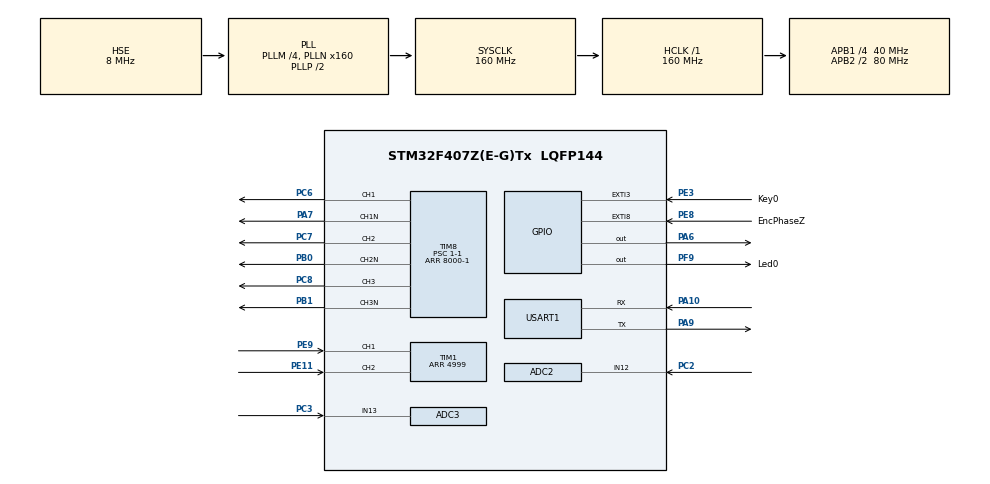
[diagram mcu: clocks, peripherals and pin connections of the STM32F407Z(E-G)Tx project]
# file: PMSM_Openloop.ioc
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ADC2.Channel-6\#ChannelRegularConversion=ADC_CHANNEL_12
ADC2.ClockPrescaler=ADC_CLOCK_SYNC_PCLK_DIV4
ADC2.DMAContinuousRequests=ENABLE
ADC2.ExternalTrigConv=ADC_EXTERNALTRIGCONV_T8_TRGO
ADC2.ExternalTrigConvEdge=ADC_EXTERNALTRIGCONVEDGE_RISING
ADC2.NbrOfConversionFlag=1
ADC2.Rank-6\#ChannelRegularConversion=1
ADC2.SamplingTime-6\#ChannelRegularConversion=ADC_SAMPLETIME_15CYCLES
ADC3.Channel-0\#ChannelRegularConversion=ADC_CHANNEL_13
ADC3.ClockPrescaler=ADC_CLOCK_SYNC_PCLK_DIV4
ADC3.DMAContinuousRequests=ENABLE
ADC3.DiscontinuousConvMode=DISABLE
ADC3.EnableAnalogWatchDog=false
ADC3.ExternalTrigConv=ADC_EXTERNALTRIGCONV_T8_TRGO
ADC3.ExternalTrigConvEdge=ADC_EXTERNALTRIGCONVEDGE_RISING
ADC3.NbrOfConversion=1
ADC3.NbrOfConversionFlag=1
ADC3.Rank-0\#ChannelRegularConversion=1
ADC3.SamplingTime-0\#ChannelRegularConversion=ADC_SAMPLETIME_15CYCLES
ADC3.ScanConvMode=DISABLE
Dma.ADC2.1.Direction=DMA_PERIPH_TO_MEMORY
Dma.ADC2.1.FIFOMode=DMA_FIFOMODE_DISABLE
Dma.ADC2.1.Instance=DMA2_Stream2
Dma.ADC2.1.MemDataAlignment=DMA_MDATAALIGN_HALFWORD
Dma.ADC2.1.MemInc=DMA_MINC_ENABLE
Dma.ADC2.1.Mode=DMA_CIRCULAR
Dma.ADC2.1.PeriphDataAlignment=DMA_PDATAALIGN_HALFWORD
Dma.ADC2.1.PeriphInc=DMA_PINC_DISABLE
Dma.ADC2.1.Priority=DMA_PRIORITY_LOW
Dma.ADC3.0.Direction=DMA_PERIPH_TO_MEMORY
Dma.ADC3.0.FIFOMode=DMA_FIFOMODE_DISABLE
Dma.ADC3.0.Instance=DMA2_Stream0
Dma.ADC3.0.MemDataAlignment=DMA_MDATAALIGN_HALFWORD
Dma.ADC3.0.MemInc=DMA_MINC_ENABLE
Dma.ADC3.0.Mode=DMA_CIRCULAR
Dma.ADC3.0.PeriphDataAlignment=DMA_PDATAALIGN_HALFWORD
Dma.ADC3.0.PeriphInc=DMA_PINC_DISABLE
Dma.ADC3.0.Priority=DMA_PRIORITY_LOW
Dma.Request0=ADC3
Dma.Request1=ADC2
Mcu.Family=STM32F4
Mcu.Name=STM32F407Z(E-G)Tx
Mcu.Package=LQFP144
NVIC.DMA2_Stream0_IRQn=true\:0\:0\:false\:false\:true\:false\:true\:true
NVIC.DMA2_Stream2_IRQn=true\:0\:0\:false\:false\:true\:false\:true\:true
NVIC.EXTI3_IRQn=true\:1\:0\:true\:false\:true\:true\:true\:true
NVIC.EXTI9_5_IRQn=true\:0\:0\:false\:false\:true\:true\:true\:true
NVIC.PriorityGroup=NVIC_PRIORITYGROUP_4
PA10.Mode=Asynchronous
PA10.Signal=USART1_RX
PA13.Mode=Serial_Wire
PA13.Signal=SYS_JTMS-SWDIO
PA14.Mode=Serial_Wire
PA14.Signal=SYS_JTCK-SWCLK
PA6.Signal=GPIO_Output
PA7.GPIO_PuPd=GPIO_PULLUP
PA7.Mode=PWM Generation1 CH1 CH1N
PA7.Signal=TIM8_CH1N
PA9.Mode=Asynchronous
PA9.Signal=USART1_TX
PB0.GPIO_PuPd=GPIO_PULLUP
PB0.Mode=PWM Generation2 CH2 CH2N
PB0.Signal=TIM8_CH2N
PB1.GPIO_PuPd=GPIO_PULLUP
PB1.Mode=PWM Generation3 CH3 CH3N
PB1.Signal=TIM8_CH3N
PC14-OSC32_IN.Mode=LSE-External-Oscillator
PC14-OSC32_IN.Signal=RCC_OSC32_IN
PC15-OSC32_OUT.Mode=LSE-External-Oscillator
PC15-OSC32_OUT.Signal=RCC_OSC32_OUT
PC2.Signal=ADCx_IN12
PC3.Signal=ADCx_IN13
PC6.GPIO_PuPd=GPIO_PULLUP
PC6.Signal=S_TIM8_CH1
PC7.GPIO_PuPd=GPIO_PULLUP
PC7.Signal=S_TIM8_CH2
PC8.GPIO_PuPd=GPIO_PULLUP
PC8.Signal=S_TIM8_CH3
PE11.Signal=S_TIM1_CH2
PE3.GPIO_Label=Key0
PE3.GPIO_ModeDefaultEXTI=GPIO_MODE_IT_RISING
PE3.GPIO_PuPd=GPIO_PULLUP
PE3.Signal=GPXTI3
PE8.GPIO_Label=EncPhaseZ
PE8.GPIO_ModeDefaultEXTI=GPIO_MODE_IT_RISING
PE8.GPIO_PuPd=GPIO_NOPULL
PE8.Signal=GPXTI8
PE9.Signal=S_TIM1_CH1
PF9.GPIO_Label=Led0
PF9.PinState=GPIO_PIN_SET
PF9.Signal=GPIO_Output
PH0-OSC_IN.Mode=HSE-External-Oscillator
PH0-OSC_IN.Signal=RCC_OSC_IN
PH1-OSC_OUT.Mode=HSE-External-Oscillator
PH1-OSC_OUT.Signal=RCC_OSC_OUT
ProjectManager.HeapSize=0x200
ProjectManager.StackSize=0x400
ProjectManager.TargetToolchain=STM32CubeIDE
RCC.48MHZClocksFreq_Value=80000000
RCC.AHBFreq_Value=160000000
RCC.APB1CLKDivider=RCC_HCLK_DIV4
RCC.APB1Freq_Value=40000000
RCC.APB1TimFreq_Value=80000000
RCC.APB2CLKDivider=RCC_HCLK_DIV2
RCC.APB2Freq_Value=80000000
RCC.APB2TimFreq_Value=160000000
RCC.CortexFreq_Value=160000000
RCC.EnbaleCSS=true
RCC.HCLKFreq_Value=160000000
RCC.HSE_VALUE=8000000
RCC.HSI_VALUE=16000000
RCC.PLLM=4
RCC.PLLN=160
RCC.PLLSourceVirtual=RCC_PLLSOURCE_HSE
RCC.SYSCLKFreq_VALUE=160000000
RCC.SYSCLKSource=RCC_SYSCLKSOURCE_PLLCLK
RCC.VCOOutputFreq_Value=320000000
SH.ADCx_IN12.0=ADC2_IN12,IN12
SH.ADCx_IN13.0=ADC3_IN13,IN13
SH.S_TIM1_CH1.0=TIM1_CH1,Encoder_Interface
SH.S_TIM1_CH2.0=TIM1_CH2,Encoder_Interface
SH.S_TIM8_CH1.0=TIM8_CH1,PWM Generation1 CH1 CH1N
SH.S_TIM8_CH2.0=TIM8_CH2,PWM Generation2 CH2 CH2N
SH.S_TIM8_CH3.0=TIM8_CH3,PWM Generation3 CH3 CH3N
STMicroelectronics.X-CUBE-ALGOBUILD.1.3.0.LibraryCcDSPOoLibraryJjDSPOoLibrary=true
TIM1.EncoderMode=TIM_ENCODERMODE_TI1
TIM1.IC1Prescaler=TIM_ICPSC_DIV1
TIM1.IC2Prescaler=TIM_ICPSC_DIV1
TIM1.Period=4999
TIM8.AutomaticOutput=TIM_AUTOMATICOUTPUT_DISABLE
TIM8.BreakPolarity=TIM_BREAKPOLARITY_HIGH
TIM8.BreakState=TIM_BREAK_DISABLE
TIM8.Channel-PWM\ Generation1\ CH1\ CH1N=TIM_CHANNEL_1
TIM8.Channel-PWM\ Generation2\ CH2\ CH2N=TIM_CHANNEL_2
TIM8.Channel-PWM\ Generation3\ CH3\ CH3N=TIM_CHANNEL_3
TIM8.Channel-PWM\ Generation4\ No\ Output=TIM_CHANNEL_4
TIM8.ClockDivision=TIM_CLOCKDIVISION_DIV2
TIM8.CounterMode=TIM_COUNTERMODE_CENTERALIGNED1
TIM8.DeadTime=40
TIM8.OCFastMode_PWM-PWM\ Generation1\ CH1\ CH1N=TIM_OCFAST_DISABLE
TIM8.OCIdleState_1=TIM_OCIDLESTATE_SET
TIM8.OCIdleState_2=TIM_OCIDLESTATE_SET
TIM8.OCIdleState_3=TIM_OCIDLESTATE_SET
TIM8.OCMode_PWM-PWM\ Generation1\ CH1\ CH1N=TIM_OCMODE_PWM1
TIM8.OCMode_PWM-PWM\ Generation2\ CH2\ CH2N=TIM_OCMODE_PWM1
TIM8.OCMode_PWM-PWM\ Generation3\ CH3\ CH3N=TIM_OCMODE_PWM1
TIM8.OCMode_PWM-PWM\ Generation4\ No\ Output=TIM_OCMODE_PWM2
TIM8.OCNIdleState_1=TIM_OCNIDLESTATE_SET
TIM8.OCNIdleState_2=TIM_OCNIDLESTATE_SET
TIM8.OCNIdleState_3=TIM_OCNIDLESTATE_SET
TIM8.OCNPolarity_1=TIM_OCNPOLARITY_LOW
TIM8.OCNPolarity_2=TIM_OCNPOLARITY_LOW
TIM8.OCNPolarity_3=TIM_OCNPOLARITY_LOW
TIM8.OCPolarity_1=TIM_OCPOLARITY_LOW
TIM8.OCPolarity_2=TIM_OCPOLARITY_LOW
TIM8.OCPolarity_3=TIM_OCPOLARITY_LOW
TIM8.OffStateIDLEMode=TIM_OSSI_DISABLE
TIM8.Period=8000-1
TIM8.Prescaler=1-1
TIM8.Pulse-PWM\ Generation4\ No\ Output=8000-2
TIM8.RepetitionCounter=1
TIM8.TIM_MasterOutputTrigger=TIM_TRGO_OC4REF
TIM8.TIM_MasterSlaveMode=TIM_MASTERSLAVEMODE_DISABLE
USART1.VirtualMode=VM_ASYNC
VP_STMicroelectronics.X-CUBE-ALGOBUILD_VS_DSPOoLibraryJjLibrary_1.3.0_1.3.0.Mode=DSPOoLibraryJjLibrary
VP_TIM8_VS_ClockSourceINT.Mode=Internal
VP_TIM8_VS_no_output4.Mode=PWM Generation4 No Output
board=custom

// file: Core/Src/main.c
/* USER CODE BEGIN Header */
/**
  ******************************************************************************
  * @file           : main.c
  * @brief          : Main program body
  ******************************************************************************
  * @attention
  *
  * Copyright (c) 2023 STMicroelectronics.
  * All rights reserved.
  *
  * This software is licensed under terms that can be found in the LICENSE file
  * in the root directory of this software component.
  * If no LICENSE file comes with this software, it is provided AS-IS.
  *
  ******************************************************************************
  */
/* USER CODE END Header */
#include "main.h"
#include "adc.h"
#include "dma.h"
#include "tim.h"
#include "usart.h"
#include "gpio.h"

/* USER CODE BEGIN Includes */
#include "svpwm.h"
#include "arm_math.h"
#include "retarget.h"
/* USER CODE END Includes */

/* USER CODE BEGIN PV */
uint16_t t;
uint16_t  encValue = 0,encOld = 0;
uint8_t speedLoopFlag;
int16_t encDiff;
uint8_t pwmSwitch = 0;
float sineWave_Data[200];
uint16_t Tcm[3];
uint8_t sector;
float32_t Ua, Ub, Ia, Ib;
float32_t Ualpha, Ubeta, Ialpha, Ibeta;
float32_t Ud, Uq, Id, Iq;
float32_t theta_m, theta_e;
float32_t omega_m, omega_e;
uint16_t adcValue1 = 0;
uint16_t adcValue2 = 0;

/* USER CODE END PV */

void SystemClock_Config(void);

int main(void)
{

  /* MCU Configuration--------------------------------------------------------*/

  /* Reset of all peripherals, Initializes the Flash interface and the Systick. */
  HAL_Init();

  /* Configure the system clock */
  SystemClock_Config();

  /* Initialize all configured peripherals */
  MX_GPIO_Init();
  MX_USART1_UART_Init();
  MX_DMA_Init();
  MX_TIM1_Init();
  MX_TIM8_Init();
  MX_ADC2_Init();
  MX_ADC3_Init();
  /* USER CODE BEGIN 2 */
    mystdioInit(&huart1);
    for (uint16_t n = 0; n < 200; n++)
        sineWave_Data[n] = arm_sin_f32(2.0f * n * PI / 200);
    TIM8->CCR4 = 8000 - 3;
    TIM8->CCR1 = 8000-1000;
    TIM8->ARR = 8000 - 1;

    HAL_TIM_Base_Start(&htim8);
    HAL_TIM_Encoder_Start(&htim1, TIM_CHANNEL_ALL);
    HAL_ADC_Start_DMA(&hadc2,(uint32_t *)&adcValue1,1);
    HAL_ADC_Start_DMA(&hadc3,(uint32_t *)&adcValue2,1);
  /* USER CODE END 2 */

  /* Infinite loop */
  /* USER CODE BEGIN WHILE */
    while (1)
    {
        if(pwmSwitch)
        {
            HAL_GPIO_WritePin(Led0_GPIO_Port, Led0_Pin, GPIO_PIN_RESET);
            HAL_TIM_PWM_Start(&htim8,TIM_CHANNEL_4);
            HAL_TIM_PWM_Start(&htim8,TIM_CHANNEL_1);
            HAL_TIM_PWM_Start(&htim8,TIM_CHANNEL_2);
            HAL_TIM_PWM_Start(&htim8,TIM_CHANNEL_3);
            HAL_TIMEx_PWMN_Start(&htim8,TIM_CHANNEL_1);
            HAL_TIMEx_PWMN_Start(&htim8,TIM_CHANNEL_2);
            HAL_TIMEx_PWMN_Start(&htim8,TIM_CHANNEL_3);
        }
        else
        {
            HAL_GPIO_WritePin(Led0_GPIO_Port, Led0_Pin, GPIO_PIN_SET);
            HAL_TIM_PWM_Stop(&htim8,TIM_CHANNEL_4);
            HAL_TIM_PWM_Stop(&htim8,TIM_CHANNEL_1);
            HAL_TIM_PWM_Stop(&htim8,TIM_CHANNEL_2);
            HAL_TIM_PWM_Stop(&htim8,TIM_CHANNEL_3);
            HAL_TIMEx_PWMN_Stop(&htim8,TIM_CHANNEL_1);
            HAL_TIMEx_PWMN_Stop(&htim8,TIM_CHANNEL_2);
            HAL_TIMEx_PWMN_Stop(&htim8,TIM_CHANNEL_3);

        }
        printf("%f,%f\r\n", (float32_t)adcValue1 * 3.31f / 4095, (float32_t)adcValue2 * 3.31f / 4095);
//        printf("%d,%d,%f,%f\r\n", encValue, encDiff, omega_m, omega_e);
//        printf("%f,%f,%f,%f\r\n", theta_m, theta_e, omega_m, omega_e);
//        for (uint8_t n = 0; n < 200; n++)
//        {
//            U_alpha = 50 * sineWave_Data[(n + 200 / 4) % 200];
//            U_beta = 50 * sineWave_Data[n];
//            sector = svpwm(U_alpha, U_beta, 16000, 310, Tcm);
//            printf("%.10f,%.10f,%d,%d,%d,%d\r\n",Ua, Ub,Tcm[0], Tcm[1], Tcm[2], sector);
//        }

    /* USER CODE END WHILE */

    }
}

void SystemClock_Config(void)
{
  RCC_OscInitTypeDef RCC_OscInitStruct = {0};
  RCC_ClkInitTypeDef RCC_ClkInitStruct = {0};

  /** Configure the main internal regulator output voltage
  */
  __HAL_RCC_PWR_CLK_ENABLE();
  __HAL_PWR_VOLTAGESCALING_CONFIG(PWR_REGULATOR_VOLTAGE_SCALE1);

  /** Initializes the RCC Oscillators according to the specified parameters
  * in the RCC_OscInitTypeDef structure.
  */
  RCC_OscInitStruct.OscillatorType = RCC_OSCILLATORTYPE_HSE;
  RCC_OscInitStruct.HSEState = RCC_HSE_ON;
  RCC_OscInitStruct.PLL.PLLState = RCC_PLL_ON;
  RCC_OscInitStruct.PLL.PLLSource = RCC_PLLSOURCE_HSE;
  RCC_OscInitStruct.PLL.PLLM = 4;
  RCC_OscInitStruct.PLL.PLLN = 160;
  RCC_OscInitStruct.PLL.PLLP = RCC_PLLP_DIV2;
  RCC_OscInitStruct.PLL.PLLQ = 4;
  if (HAL_RCC_OscConfig(&RCC_OscInitStruct) != HAL_OK)
  {
    Error_Handler();
  }

  /** Initializes the CPU, AHB and APB buses clocks
  */
  RCC_ClkInitStruct.ClockType = RCC_CLOCKTYPE_HCLK|RCC_CLOCKTYPE_SYSCLK
                              |RCC_CLOCKTYPE_PCLK1|RCC_CLOCKTYPE_PCLK2;
  RCC_ClkInitStruct.SYSCLKSource = RCC_SYSCLKSOURCE_PLLCLK;
  RCC_ClkInitStruct.AHBCLKDivider = RCC_SYSCLK_DIV1;
  RCC_ClkInitStruct.APB1CLKDivider = RCC_HCLK_DIV4;
  RCC_ClkInitStruct.APB2CLKDivider = RCC_HCLK_DIV2;

  if (HAL_RCC_ClockConfig(&RCC_ClkInitStruct, FLASH_LATENCY_5) != HAL_OK)
  {
    Error_Handler();
  }

  /** Enables the Clock Security System
  */
  HAL_RCC_EnableCSS();
}

/* USER CODE BEGIN 4 */
//void HAL_TIM_PWM_PulseFinishedCallback(TIM_HandleTypeDef *htim)
//{
//    if(htim == &htim8 && htim->Channel == HAL_TIM_ACTIVE_CHANNEL_4)
//    {
//        t++;
//        if(t > 199)
//            t = 0;
//        Ua = 10 * sineWave_Data[t];
//        Ub = 10 * sineWave_Data[(t + 200 * 2 / 3) % 200];
//        arm_clarke_f32(Ua, Ub, &Ualpha, &Ubeta);
//        arm_park_f32(Ualpha, Ubeta, &Ud, &Uq, arm_sin_f32(2 * PI * (float32_t) t / 200.0f),
//                     arm_cos_f32(2 * PI * (float32_t) t / 200.0f));
//        sector = svpwm(Ualpha, Ubeta, 16000, 320, Tcm);
//        TIM8->CCR1 = Tcm[0];
//        TIM8->CCR2 = Tcm[1];
//        TIM8->CCR3 = Tcm[2];
//        speedLoopFlag++;
//        if(speedLoopFlag > 39)
//        {
//            int16_t encDiffTmp[3];
//            speedLoopFlag = 0;
//            encValue = __HAL_TIM_GET_COUNTER(&htim1);
//            encDiffTmp[0] = (int16_t)(encValue - encOld);
//            encDiffTmp[1] = (int16_t)(encDiffTmp[0] + 5000);
//            encDiffTmp[2] = (int16_t)(encDiffTmp[0] - 5000);
//            for(uint8_t i = 0;i<3;i++)
//            {
//                if(encDiffTmp[i] > -2500 && encDiffTmp[i] < 2500 )
//                    encDiff = encDiffTmp[i];
//            }
//            encOld = encValue;
//            omega_m = PI * (float32_t) (encDiff) / 10.0f;
//            omega_e = 4 * omega_m;
//            theta_m = 2 * PI * (float32_t) (encValue % 5000) / 5000.0f;
//            theta_e = 2 * PI * (float32_t) (encValue % 1250) / 1250.0f;
//        }
//
//    }

//}

void HAL_ADC_ConvCpltCallback(ADC_HandleTypeDef* hadc)
{
    if (hadc == &hadc3) {
        t++;
        if (t > 199)
            t = 0;
        Ua = 10 * sineWave_Data[t];
        Ub = 10 * sineWave_Data[(t + 200 * 2 / 3) % 200];
        arm_clarke_f32(Ua, Ub, &Ualpha, &Ubeta);
        arm_park_f32(Ualpha, Ubeta, &Ud, &Uq, arm_sin_f32(2 * PI * (float32_t) t / 200.0f),
                     arm_cos_f32(2 * PI * (float32_t) t / 200.0f));
        sector = svpwm(Ualpha, Ubeta, 16000, 320, Tcm);
        TIM8->CCR1 = Tcm[0];
        TIM8->CCR2 = Tcm[1];
        TIM8->CCR3 = Tcm[2];
        speedLoopFlag++;
        if (speedLoopFlag > 39) {
            int16_t encDiffTmp[3];
            speedLoopFlag = 0;
            encValue = __HAL_TIM_GET_COUNTER(&htim1);
            encDiffTmp[0] = (int16_t) (encValue - encOld);
            encDiffTmp[1] = (int16_t) (encDiffTmp[0] + 5000);
            encDiffTmp[2] = (int16_t) (encDiffTmp[0] - 5000);
            for (uint8_t i = 0; i < 3; i++) {
                if (encDiffTmp[i] > -2500 && encDiffTmp[i] < 2500)
                    encDiff = encDiffTmp[i];
            }
            encOld = encValue;
            omega_m = PI * (float32_t) (encDiff) / 10.0f;
            omega_e = 4 * omega_m;
            theta_m = 2 * PI * (float32_t) (encValue % 5000) / 5000.0f;
            theta_e = 2 * PI * (float32_t) (encValue % 1250) / 1250.0f;
        }
        HAL_GPIO_TogglePin(GPIOA, GPIO_PIN_6);
    }
}

void HAL_GPIO_EXTI_Callback(uint16_t GPIO_Pin)
{
    if(GPIO_Pin == Key0_Pin)
        pwmSwitch = ~pwmSwitch;
    if(GPIO_Pin == EncPhaseZ_Pin)
        __HAL_TIM_SET_COUNTER(&htim1,0);
}
/* USER CODE END 4 */

void Error_Handler(void)
{
    __disable_irq();
    while (1) {
    }
}
